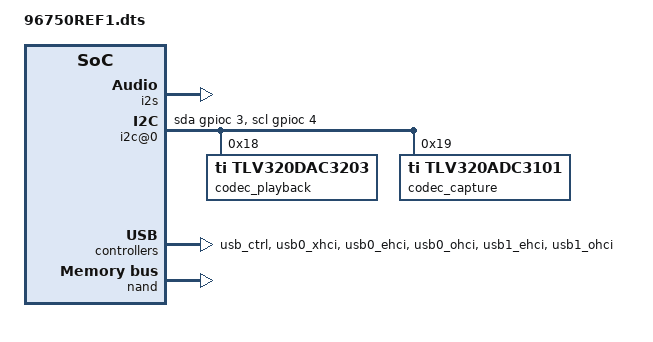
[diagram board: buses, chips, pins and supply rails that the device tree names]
#include "63178.dtsi"

/ {
    memory_controller {
        memcfg = <(BP_DDR_SPEED_800_11_11_11 | \
                   BP_DDR_TOTAL_SIZE_1024MB  | \
                   BP_DDR_DEVICE_WIDTH_8     | \
                   BP_DDR_TOTAL_WIDTH_16BIT  | \
                   BP_DDR_63178_DEFAULT)>;
    };

	buttons {
		compatible = "brcm,buttons";
		reset_button {
			ext_irq = <&bca_extintr 0 GPIO_ACTIVE_LOW (BCA_EXTINTR_TYPE_LOW_LEVEL | BCA_EXTINTR_TYPE_SENSE_EDGE)>;
			press {
				print = "Button Press -- Hold for 5s to do restore to default";
			};
			hold {
				rst_to_dflt = <5>;
			};
			release {
				reset = <0>;
			};	
		};
		ses_button {
			ext_irq = <&bca_extintr 1 GPIO_ACTIVE_LOW (BCA_EXTINTR_TYPE_LOW_LEVEL | BCA_EXTINTR_TYPE_SENSE_EDGE)>;
			release {
				ses_short_period = <0>;
				ses_long_period = <3>;
			};
		};
	};

	periph {
		i2s: bcm63xx-i2s {
			pinctrl-0 = <&d_i2s_sclk_pin_67 &d_i2s_lrck_pin_68 &d_i2s_rx_sdata_pin_69 &d_i2s_tx_sdata_pin_70 &d_i2s_mclk_pin_71>;
			pinctrl-names = "default";
			compatible = "brcm,bcm63xx-i2s";
			reg = <0x2080 0x21>;
			interrupts = <GIC_SPI 78 IRQ_TYPE_LEVEL_HIGH>;
			clocks = <&i2sclk>, <&osc>;
			clock-names = "i2sclk","i2sosc"; 
		};
		i2c@0 {
			compatible = "i2c-gpio";
			gpios = <&gpioc 3 0 &gpioc 4 0>;/* sda and scl */
			i2c-gpio,delay-us   = <50>;     /* ~10 kHz */
			i2c-gpio,timeout-ms = <100>;    /* 100ms */
			#address-cells = <1>;
			#size-cells = <0>;

			codec_playback:codec_playback@18{
				compatible = "ti,tlv320dac3203";
				reg = <0x18>;
			};
			codec_capture:codec_capture@19{
				compatible = "ti,tlv320adc3101";
				reg = <0x19>;
			};
		};			
	};
};

&switch0 {
    /* Port PHY mapping:
            port_imp -8#0- port_gphy0 <--> phy_gphy0
                      # 1- port_gphy1 <--> phy_gphy1
                      # 2- port_gphy2 <--> phy_gphy2
                      # 3- port_gphy3 <--> phy_gphy3
                      ##4- port_gphy4 <--> phy_gphy4
     */
	ports {
		port_gphy0 {
			network-leds = <&led0 &led15>;
			status = "okay";
		};

		port_gphy1 {
			network-leds = <&led2 &led16>;
			status = "okay";
		};

		port_gphy2 {
			network-leds = <&led4 &led17>;
			status = "okay";
		};

		port_gphy3 {
			network-leds = <&led6 &led18>;
			status = "okay";
		};

		port_gphy4 {
			network-leds = <&led8 &led19>;
			status = "okay";
		};
	};
};

&legacy_leds {
	adsl-led = <&led30>;
};

&led_ctrl {
    pinctrl-names = "default";
    pinctrl-0 = <&b_ser_led_clk_pin_27 &b_ser_led_data_pin_26 &b_ser_led_mask_pin_28>;
    serial-shifters-installed = <2>;
    serial-data-polarity-high;
    led0: port_0-led_0-bit_0 {
        active_high;
        link = <(LED_SPEED_100|LED_SPEED_1G)>;
        status = "okay";
    };
    led2: port_1-led_0-bit_2 {
        active_high;
        link = <(LED_SPEED_100|LED_SPEED_1G)>;
        status = "okay";
    };
    led4: port_2-led_0-bit_4 {
        active_high;
        link = <(LED_SPEED_100|LED_SPEED_1G)>;
        status = "okay";
    };
    led6: port_3-led_0-bit_6 {
        active_high;
        link = <(LED_SPEED_100|LED_SPEED_1G)>;
        status = "okay";
    };
    led8: port_4-led_0-bit_8 {
        active_high;
        link = <(LED_SPEED_100|LED_SPEED_1G)>;
        status = "okay";
    };
    led15: port_0-led_3-bit_15 {
        active_high;
	activity = <LED_SPEED_GBE>;
        status = "okay";
    };
    led16: port_1-led_3-bit_16 {
        active_high;
	activity = <LED_SPEED_GBE>;
        status = "okay";
    };
    led17: port_2-led_3-bit_17 {
        active_high;
	activity = <LED_SPEED_GBE>;
        status = "okay";
    };
    led18: port_3-led_3-bit_18 {
        active_high;
	activity = <LED_SPEED_GBE>;
        status = "okay";
    };
    led19: port_4-led_3-bit_19 {
        active_high;
	activity = <LED_SPEED_GBE>;
        status = "okay";
    };
    led26: sw_led-bit_26 {
        active_high;
        status = "okay";
    };
    led27: sw_led-bit_27 {
        active_high;
        status = "okay";
    };
    led28: sw_led-bit_28 {
        active_high;
        status = "okay";
    };
    led29: sw_led-bit_29 {
        active_high;
        status = "okay";
    };
    led30: sw_led-bit_30 {
        active_high;
        status = "okay";
    };
};


&vreg_sync {
		pinctrl-0 = <&vreg_sync_pin_2>;
		pinctrl-names = "default";
};

&hs_uart0 {
	pinctrl-0 = <&b_hs_uart_cts_pin_22 &b_hs_uart_rts_pin_12 &b_hs_uart_sin_pin_21 &b_hs_uart_sout_pin_20>;
	pinctrl-names = "default";
};

&usb_ctrl {
	pinctrl-names="default";
	pinctrl-0 = <&usb0a_pwrflt_pin_83 &usb0a_pwron_pin_84 &usb1a_pwrflt_pin_85 &usb1a_pwron_pin_86>;
	status = "okay";
	xhci-enable;
};

&usb0_xhci {
	status = "okay";
};

&usb0_ehci {
	status = "okay";
};

&usb0_ohci {
	status = "okay";
};

&usb1_ehci {
	status = "okay";
};

&usb1_ohci {
	status = "okay";
};

&pincontroller {
	pinctrl-names = "default";
	pinctrl-0 = <&a_wl_gci_00_pin_30 &a_wl_gci_01_pin_33 &a_wl_gci_02_pin_32 &a_wl_gci_03_pin_31>;
};

&nand {
	status = "okay";
};
